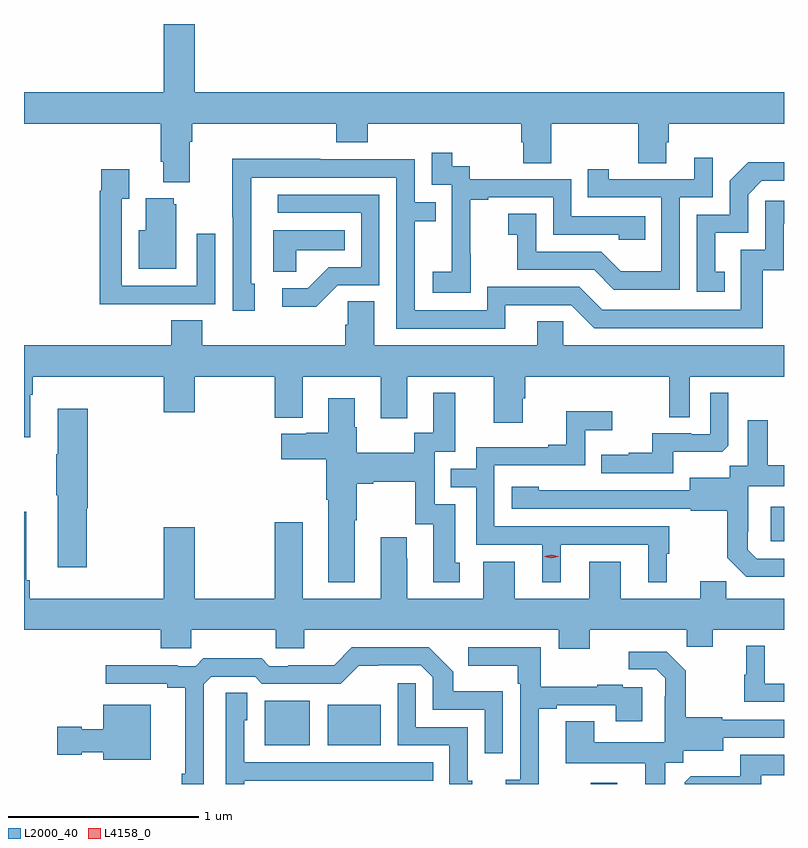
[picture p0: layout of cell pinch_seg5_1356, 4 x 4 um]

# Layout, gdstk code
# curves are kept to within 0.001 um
import gdstk
lib = gdstk.Library(unit=1e-6, precision=1e-09)
def R(c, l, rs):  # rectangles x0, y0, x1, y1
    for r in rs: c.add(gdstk.rectangle(r[:2], r[2:], *l))
def P(c, l, *ps):  # polygons
    for p in ps: c.add(gdstk.Polygon(p, *l))
L2000_40 = (2000, 40)
L4158_0 = (4158, 0)

pinch_seg5_1356 = lib.new_cell('pinch_seg5_1356')
R(pinch_seg5_1356, L2000_40, [(239.183,899.904,239.323,899.911), (237.467,900.107,237.706,900.343), (237.8,900.107,238.078,900.322), (240.131,901.182,240.201,901.363)])
P(pinch_seg5_1356, L2000_40, [(237.073,903.284),(237.086,903.284),(237.086,903.38),(237.845,903.38),(237.845,903.281),(238.01,903.281),(238.01,903.38),(238.817,903.38),(238.817,903.282),(238.829,903.282),(238.829,903.172),(238.977,903.172),(238.977,903.38),(239.434,903.38),(239.434,903.172),(239.581,903.172),(239.581,903.282),(239.594,903.282),(239.594,903.38),(240.201,903.38),(240.201,903.544),(237.1,903.544),(237.1,903.904),(236.936,903.904),(236.936,903.544),(236.201,903.544),(236.201,903.38),(236.921,903.38),(236.921,903.178),(236.933,903.178),(236.933,903.071),(237.073,903.071)],
  [(238.551,902.695),(238.55,902.695),(238.55,902.979),(238.645,902.979),(238.645,902.991),(238.986,902.991),(238.986,902.796),(239.331,902.796),(239.331,902.769),(239.471,902.769),(239.471,902.892),(239.082,902.892),(239.082,903.087),(238.548,903.087),(238.548,903.156),(238.456,903.156),(238.456,903.226),(238.347,903.226),(238.347,903.057),(238.452,903.057),(238.452,902.828),(238.451,902.828),(238.451,902.599),(238.353,902.599),(238.353,902.489),(238.551,902.489)],
  [(239.652,902.991),(239.826,902.991),(239.826,903.199),(239.729,903.199),(239.729,903.087),(239.278,903.087),(239.278,903.139),(239.167,903.139),(239.167,902.991),(239.556,902.991),(239.556,902.602),(239.342,902.602),(239.238,902.706),(238.896,902.706),(238.896,902.905),(238.749,902.905),(238.749,902.795),(238.798,902.795),(238.798,902.61),(239.201,902.61),(239.306,902.505),(239.652,902.505)],
  [(238.735,902.424),(239.082,902.424),(239.202,902.304),(240.089,902.304),(240.089,902.607),(240.2,902.607),(240.201,902.974),(240.102,902.974),(240.102,902.715),(239.973,902.715),(239.973,902.4),(239.244,902.4),(239.124,902.52),(238.638,902.52),(238.638,902.397),(238.257,902.397),(238.257,902.866),(238.367,902.866),(238.367,902.967),(238.257,902.967),(238.257,903.192),(237.761,903.192),(237.761,903.194),(237.298,903.194),(237.298,902.887),(237.3,902.887),(237.3,902.394),(237.415,902.394),(237.415,902.538),(237.396,902.538),(237.396,903.096),(238.161,903.096),(238.161,902.301),(238.735,902.301)],
  [(239.888,902.601),(239.839,902.601),(239.839,902.805),(240.012,902.805),(240.012,903.006),(240.084,903.078),(240.201,903.078),(240.201,903.176),(240.014,903.176),(239.916,903.078),(239.916,902.901),(239.742,902.901),(239.742,902.496),(239.888,902.496)],
  [(236.891,902.43),(237.207,902.43),(237.207,902.8),(237.111,902.8),(237.111,902.526),(236.715,902.526),(236.715,902.983),(236.755,902.983),(236.755,903.139),(236.607,903.139),(236.607,903.026),(236.599,903.026),(236.599,902.429),(236.891,902.429)],
  [(237.852,902.529),(238.071,902.529),(238.071,903.006),(237.537,903.006),(237.537,902.91),(237.975,902.91),(237.975,902.625),(237.806,902.625),(237.695,902.514),(237.561,902.514),(237.561,902.417),(237.739,902.417)],
  [(237.001,902.955),(236.99,902.955),(236.99,902.986),(236.843,902.986),(236.843,902.818),(236.804,902.818),(236.804,902.615),(237.001,902.615)],
  [(237.633,902.714),(237.89,902.714),(237.89,902.818),(237.512,902.818),(237.512,902.599),(237.633,902.599)],
  [(236.233,901.952),(236.246,901.952),(236.246,902.048),(236.936,902.048),(236.936,901.86),(237.1,901.86),(237.1,902.048),(237.52,902.048),(237.52,901.832),(237.667,901.832),(237.667,902.048),(238.079,902.048),(238.079,901.83),(238.219,901.83),(238.219,902.048),(238.673,902.048),(238.673,901.806),(238.825,901.806),(238.825,901.935),(238.838,901.935),(238.838,902.048),(239.598,902.048),(239.598,901.834),(239.706,901.834),(239.706,902.048),(240.201,902.048),(240.201,902.212),(239.04,902.212),(239.04,902.339),(238.901,902.339),(238.901,902.212),(238.045,902.212),(238.045,902.444),(237.906,902.444),(237.906,902.321),(237.893,902.321),(237.893,902.212),(237.14,902.212),(237.14,902.345),(236.975,902.345),(236.975,902.212),(236.201,902.212),(236.201,901.728),(236.233,901.728)],
  [(237.943,901.291),(237.951,901.291),(237.951,901.484),(238.039,901.484),(238.039,901.496),(238.259,901.496),(238.259,901.272),(238.355,901.272),(238.355,900.966),(238.495,900.966),(238.495,901.068),(238.471,901.068),(238.471,901.377),(238.362,901.377),(238.362,901.653),(238.471,901.653),(238.471,901.963),(238.355,901.963),(238.355,901.754),(238.254,901.754),(238.254,901.648),(237.951,901.648),(237.951,901.782),(237.943,901.782),(237.943,901.933),(237.803,901.933),(237.803,901.754),(237.687,901.754),(237.687,901.747),(237.555,901.747),(237.555,901.613),(237.791,901.613),(237.791,901.4),(237.803,901.4),(237.803,900.965),(237.943,900.965)],
  [(239.617,901.652),(239.875,901.652),(239.907,901.683),(239.907,901.963),(239.814,901.963),(239.814,901.746),(239.714,901.746),(239.714,901.749),(239.507,901.749),(239.507,901.648),(239.383,901.648),(239.383,901.636),(239.239,901.636),(239.239,901.539),(239.617,901.539)],
  [(236.532,901.356),(236.537,901.356),(236.537,901.879),(236.378,901.879),(236.378,901.64),(236.371,901.64),(236.371,901.423),(236.378,901.423),(236.378,901.044),(236.532,901.044)],
  [(239.026,901.164),(239.486,901.164),(239.486,900.965),(239.584,900.965),(239.584,901.116),(239.596,901.116),(239.596,901.26),(238.677,901.26),(238.677,901.581),(239.154,901.581),(239.154,901.766),(239.296,901.766),(239.296,901.865),(239.056,901.865),(239.056,901.69),(238.961,901.69),(238.961,901.677),(238.581,901.677),(238.581,901.563),(238.447,901.563),(238.447,901.467),(238.581,901.467),(238.581,901.164),(238.928,901.164),(238.928,900.965),(239.026,900.965)],
  [(240.201,901.089),(240.057,901.089),(240.01,901.136),(240.01,901.231),(240.012,901.231),(240.012,901.472),(240.201,901.472),(240.201,901.582),(240.115,901.582),(240.115,901.819),(240.011,901.819),(240.011,901.58),(239.916,901.58),(239.916,901.516),(239.705,901.516),(239.705,901.449),(238.911,901.45),(238.911,901.468),(238.767,901.468),(238.767,901.353),(239.709,901.353),(239.709,901.341),(239.901,901.341),(239.901,901.095),(240.001,900.995),(240.201,900.995)],
  [(239.179,900.716),(239.689,900.716),(239.689,900.626),(239.827,900.626),(239.827,900.716),(240.201,900.716),(240.201,900.88),(239.897,900.88),(239.897,900.971),(239.759,900.971),(239.759,900.88),(239.341,900.88),(239.341,901.075),(239.177,901.075),(239.177,900.88),(238.783,900.88),(238.783,901.075),(238.619,901.075),(238.619,900.88),(238.219,900.88),(238.219,901.091),(238.216,901.091),(238.216,901.204),(238.079,901.204),(238.079,900.88),(237.667,900.88),(237.667,901.282),(237.52,901.282),(237.52,900.88),(237.1,900.88),(237.1,901.255),(236.936,901.255),(236.936,900.88),(236.231,900.88),(236.231,900.976),(236.212,900.976),(236.212,901.336),(236.201,901.336),(236.201,900.716),(236.921,900.716),(236.921,900.618),(237.081,900.618),(237.081,900.716),(237.526,900.716),(237.526,900.618),(237.676,900.618),(237.676,900.716),(239.015,900.716),(239.015,900.617),(239.179,900.617)],
  [(240.201,900.432),(240.1,900.432),(240.1,900.631),(240.002,900.631),(240.002,900.48),(239.991,900.48),(239.991,900.336),(240.201,900.336)],
  [(238.909,900.3),(239.005,900.3),(239.005,900.318),(239.315,900.318),(239.315,900.234),(239.455,900.234),(239.455,900.414),(239.351,900.414),(239.351,900.427),(239.219,900.427),(239.219,900.416),(238.921,900.416),(238.921,900.624),(238.539,900.624),(238.539,900.527),(238.8,900.527),(238.8,900.431),(238.812,900.431),(238.812,899.926),(238.737,899.926),(238.737,899.904),(238.909,899.904)],
  [(237.147,900.429),(237.186,900.468),(237.417,900.468),(237.453,900.432),(237.867,900.432),(237.962,900.527),(238.29,900.528),(238.353,900.465),(238.353,900.294),(238.626,900.294),(238.626,900.066),(238.722,900.066),(238.722,900.391),(238.461,900.391),(238.461,900.494),(238.33,900.624),(237.927,900.624),(237.833,900.53),(237.592,900.53),(237.592,900.525),(237.492,900.525),(237.453,900.565),(237.145,900.565),(237.105,900.525),(237.011,900.525),(237.011,900.53),(236.631,900.53),(236.631,900.432),(236.954,900.432),(236.954,900.41),(237.05,900.41),(237.05,899.959),(237.031,899.959),(237.031,899.904),(237.147,899.904)],
  [(239.575,900.016),(239.67,900.016),(239.67,900.08),(239.881,900.08),(239.881,900.147),(240.201,900.147),(240.201,900.243),(239.877,900.243),(239.877,900.256),(239.685,900.256),(239.685,900.501),(239.585,900.601),(239.385,900.601),(239.385,900.507),(239.529,900.507),(239.576,900.46),(239.576,900.365),(239.574,900.365),(239.574,900.124),(239.203,900.124),(239.203,900.233),(239.051,900.233),(239.051,900.014),(239.471,900.014),(239.471,899.904),(239.575,899.904)],
  [(238.561,899.922),(238.536,899.922),(238.536,900.204),(238.263,900.204),(238.263,900.433),(238.167,900.433),(238.167,900.108),(238.44,900.108),(238.44,899.904),(238.561,899.904)],
  [(237.36,899.921),(237.677,899.921),(237.677,899.922),(238.355,899.922),(238.355,900.018),(237.36,900.018),(237.36,900.24),(237.376,900.24),(237.376,900.383),(237.264,900.383),(237.264,899.904),(237.36,899.904)],
  [(236.869,900.322),(236.618,900.322),(236.618,900.193),(236.505,900.193),(236.505,900.206),(236.376,900.206),(236.376,900.059),(236.505,900.059),(236.505,900.071),(236.618,900.071),(236.618,900.032),(236.869,900.032)],
  [(240.08,899.949),(240.201,899.949),(240.201,900.057),(239.97,900.057),(239.97,899.945),(239.711,899.945),(239.679,899.913),(239.679,899.904),(240.08,899.904)])
P(pinch_seg5_1356, L4158_0, [(238.977,901.091),(238.941,901.101),(238.941,901.101),(238.941,901.102),(238.977,901.111),(239.013,901.102),(239.013,901.101),(239.013,901.101)])

lib.write_gds('pinch_seg5_1356.gds')
